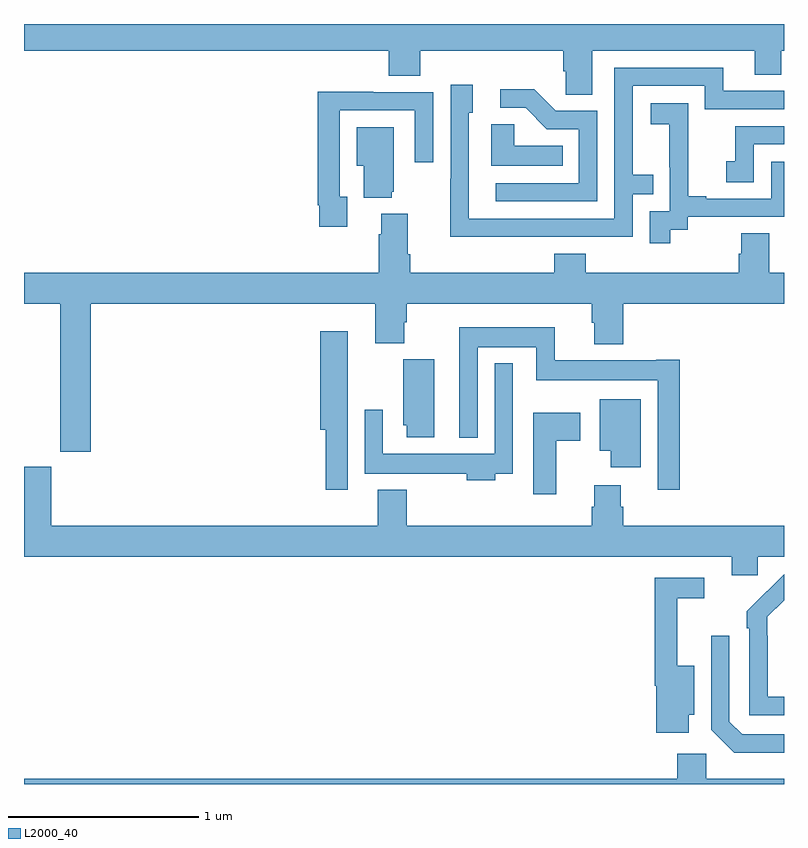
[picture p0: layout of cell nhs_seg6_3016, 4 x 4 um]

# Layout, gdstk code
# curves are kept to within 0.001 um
import gdstk
lib = gdstk.Library(unit=1e-6, precision=1e-09)
def P(c, l, *ps):  # polygons
    for p in ps: c.add(gdstk.Polygon(p, *l))
L2000_40 = (2000, 40)

nhs_seg6_3016 = lib.new_cell('nhs_seg6_3016')
P(nhs_seg6_3016, L2000_40, [(291.991,923.36),(292.847,923.36),(292.847,923.233),(292.986,923.233),(292.986,923.36),(293,923.36),(293,923.5),(289,923.5),(289,923.36),(290.921,923.36),(290.921,923.227),(291.086,923.227),(291.086,923.36),(291.839,923.36),(291.839,923.251),(291.852,923.251),(291.852,923.128),(291.991,923.128)],
  [(291.707,922.38),(292.203,922.38),(292.203,922.605),(292.313,922.605),(292.313,922.706),(292.203,922.706),(292.203,923.175),(292.584,923.175),(292.584,923.052),(293,923.052),(293,923.148),(292.681,923.148),(292.681,923.271),(292.107,923.271),(292.107,922.476),(291.342,922.476),(291.342,923.034),(291.361,923.034),(291.361,923.179),(291.246,923.179),(291.246,922.685),(291.244,922.685),(291.244,922.379),(291.707,922.379)],
  [(292.017,923.043),(291.798,923.043),(291.685,923.156),(291.507,923.156),(291.507,923.058),(291.641,923.058),(291.752,922.947),(291.921,922.947),(291.921,922.662),(291.483,922.662),(291.483,922.566),(292.017,922.566)],
  [(290.701,922.59),(290.661,922.59),(290.661,923.046),(291.057,923.046),(291.057,922.773),(291.153,922.773),(291.153,923.142),(290.837,923.142),(290.837,923.144),(290.545,923.144),(290.545,922.546),(290.553,922.546),(290.553,922.434),(290.701,922.434)],
  [(292.402,922.417),(292.494,922.417),(292.494,922.485),(293,922.485),(293,922.776),(292.932,922.776),(292.932,922.581),(292.591,922.581),(292.591,922.594),(292.496,922.594),(292.496,922.877),(292.497,922.877),(292.497,923.083),(292.299,923.083),(292.299,922.973),(292.397,922.973),(292.397,922.745),(292.398,922.745),(292.398,922.515),(292.293,922.515),(292.293,922.347),(292.402,922.347)],
  [(291.836,922.858),(291.579,922.858),(291.579,922.973),(291.458,922.973),(291.458,922.754),(291.836,922.754)],
  [(292.842,922.866),(293,922.866),(293,922.962),(292.744,922.962),(292.744,922.777),(292.695,922.777),(292.695,922.668),(292.842,922.668)],
  [(290.936,922.617),(290.947,922.617),(290.947,922.957),(290.75,922.957),(290.75,922.754),(290.789,922.754),(290.789,922.586),(290.936,922.586)],
  [(289.352,922.028),(290.849,922.028),(290.849,921.82),(291.001,921.82),(291.001,921.929),(291.014,921.929),(291.014,922.028),(291.989,922.028),(291.989,921.927),(292.001,921.927),(292.001,921.815),(292.154,921.815),(292.154,922.028),(293,922.028),(293,922.192),(292.923,922.192),(292.923,922.4),(292.775,922.4),(292.775,922.29),(292.763,922.29),(292.763,922.192),(291.956,922.192),(291.956,922.291),(291.791,922.291),(291.791,922.192),(291.032,922.192),(291.032,922.288),(291.019,922.288),(291.019,922.501),(290.879,922.501),(290.879,922.394),(290.867,922.394),(290.867,922.192),(289,922.192),(289,922.028),(289.192,922.028),(289.192,921.249),(289.352,921.249)],
  [(292.451,921.733),(292.328,921.733),(292.328,921.73),(291.794,921.73),(291.794,921.904),(291.29,921.904),(291.29,921.323),(291.387,921.323),(291.387,921.8),(291.696,921.8),(291.696,921.626),(292.335,921.626),(292.335,921.048),(292.451,921.048)],
  [(290.703,921.469),(290.704,921.469),(290.704,921.883),(290.558,921.883),(290.558,921.365),(290.587,921.365),(290.587,921.048),(290.703,921.048)],
  [(291.16,921.735),(290.996,921.735),(290.996,921.387),(291.014,921.387),(291.014,921.324),(291.16,921.324)],
  [(291.481,921.132),(291.573,921.132),(291.573,921.715),(291.477,921.715),(291.477,921.238),(290.889,921.238),(290.889,921.469),(290.793,921.469),(290.793,921.134),(291.097,921.134),(291.097,921.132),(291.329,921.132),(291.329,921.098),(291.481,921.098)],
  [(292.246,921.526),(292.031,921.526),(292.031,921.254),(292.088,921.254),(292.088,921.168),(292.246,921.168)],
  [(291.802,921.307),(291.928,921.307),(291.928,921.454),(291.68,921.454),(291.68,921.024),(291.802,921.024)],
  [(292.863,920.696),(293,920.696),(293,920.86),(292.154,920.86),(292.154,920.958),(292.141,920.958),(292.141,921.073),(292.001,921.073),(292.001,920.958),(291.989,920.958),(291.989,920.86),(291.014,920.86),(291.014,921.049),(290.861,921.049),(290.861,920.86),(289.144,920.86),(289.144,921.169),(289,921.169),(289,920.696),(292.724,920.696),(292.724,920.598),(292.863,920.598)],
  [(293,919.959),(292.914,919.959),(292.914,920.279),(292.911,920.279),(292.911,920.379),(293,920.468),(293,920.604),(292.803,920.409),(292.803,920.321),(292.818,920.321),(292.818,919.863),(293,919.863)],
  [(292.498,919.865),(292.528,919.865),(292.528,920.122),(292.439,920.122),(292.439,920.478),(292.579,920.478),(292.579,920.586),(292.321,920.586),(292.321,920.018),(292.328,920.018),(292.328,919.77),(292.498,919.77)],
  [(293,919.761),(292.779,919.761),(292.713,919.827),(292.713,920.281),(292.617,920.281),(292.617,919.785),(292.738,919.664),(293,919.664)],
  [(293,919.528),(292.59,919.528),(292.59,919.66),(292.439,919.66),(292.439,919.528),(289,919.528),(289,919.5),(293,919.5)])

lib.write_gds('nhs_seg6_3016.gds')
